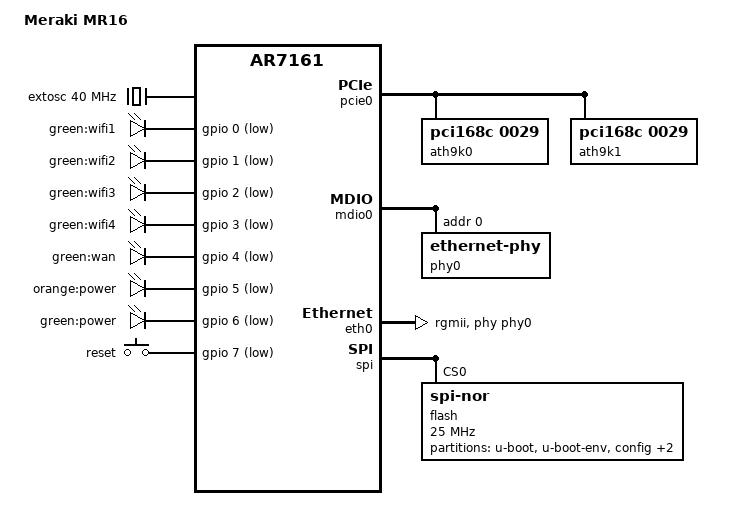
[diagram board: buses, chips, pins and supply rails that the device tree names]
// SPDX-License-Identifier: GPL-2.0-or-later OR MIT

#include "ar7100.dtsi"

#include <dt-bindings/gpio/gpio.h>
#include <dt-bindings/input/input.h>

/ {
	compatible = "meraki,mr16", "qca,ar7161";
	model = "Meraki MR16";

	aliases {
		led-boot = &led_power_orange;
		led-failsafe = &led_power_orange;
		led-running = &led_power_green;
		led-upgrade = &led_power_orange;
	};

	extosc: ref {
		compatible = "fixed-clock";
		#clock-cells = <0>;
		clock-output-names = "ref";
		clock-frequency = <40000000>;
	};

	leds {
		compatible = "gpio-leds";

		wifi1 {
			label = "green:wifi1";
			gpios = <&gpio 0 GPIO_ACTIVE_LOW>;
		};

		wifi2 {
			label = "green:wifi2";
			gpios = <&gpio 1 GPIO_ACTIVE_LOW>;
		};

		wifi3 {
			label = "green:wifi3";
			gpios = <&gpio 2 GPIO_ACTIVE_LOW>;
		};

		wifi4 {
			label = "green:wifi4";
			gpios = <&gpio 3 GPIO_ACTIVE_LOW>;
		};

		wan {
			label = "green:wan";
			gpios = <&gpio 4 GPIO_ACTIVE_LOW>;
		};

		led_power_orange: power_orange {
			label = "orange:power";
			gpios = <&gpio 5 GPIO_ACTIVE_LOW>;
			panic-indicator;
		};

		led_power_green: power_green {
			label = "green:power";
			gpios = <&gpio 6 GPIO_ACTIVE_LOW>;
		};
	};

	keys {
		compatible = "gpio-keys";

		reset {
			label = "reset";
			linux,code = <KEY_RESTART>;
			gpios = <&gpio 7 GPIO_ACTIVE_LOW>;
		};
	};
};

&pcie0 {
	status = "okay";

	ath9k0: wifi@0,11 { /* 2.4 GHz */
		compatible = "pci168c,0029";
		reg = <0x8800 0 0 0 0>;
		qca,no-eeprom;
		nvmem-cells = <&macaddr_config_66>;
		nvmem-cell-names = "mac-address";
		mac-address-increment = <1>;
		#gpio-cells = <2>;
		gpio-controller;
	};

	ath9k1: wifi@0,12 { /* 5 GHz */
		compatible = "pci168c,0029";
		reg = <0x9000 0 0 0 0>;
		qca,no-eeprom;
		nvmem-cells = <&macaddr_config_66>;
		nvmem-cell-names = "mac-address";
		mac-address-increment = <2>;
		#gpio-cells = <2>;
		gpio-controller;
	};
};

&pll {
	clocks = <&extosc>;
};

&mdio0 {
	status = "okay";

	phy-mask = <0x1>;

	phy0: ethernet-phy@0 {
		reg = <0>;
	};
};

&eth0 {
	status = "okay";
	nvmem-cells = <&macaddr_config_66>;
	nvmem-cell-names = "mac-address";

	pll-data = <0x00110000 0x00001099 0x00991099>;

	phy-mode = "rgmii";
	phy-handle = <&phy0>;
};

&spi {
	status = "okay";

	flash@0 {
		compatible = "jedec,spi-nor";
		reg = <0>;
		spi-max-frequency = <25000000>;

		partitions {
			compatible = "fixed-partitions";
			#address-cells = <1>;
			#size-cells = <1>;

			partition@0 {
				label = "u-boot";
				reg = <0x000000 0x40000>;
				read-only;
			};

			partition@40000 {
				label = "u-boot-env";
				reg = <0x40000 0x40000>;
				read-only;
			};

			config: partition@80000 {
				label = "config";
				reg = <0x80000 0x20000>;
				read-only;
			};

			partition@a0000 {
				label = "firmware";
				reg = <0xa0000 0xf40000>;
				compatible = "denx,uimage";
			};

			partition@fe0000 {
				label = "art";
				reg = <0xfe0000 0x20000>;
				read-only;
			};
		};
	};
};

&config {
	compatible = "nvmem-cells";
	#address-cells = <1>;
	#size-cells = <1>;

	macaddr_config_66: macaddr@66 {
		reg = <0x66 0x6>;
	};
};
